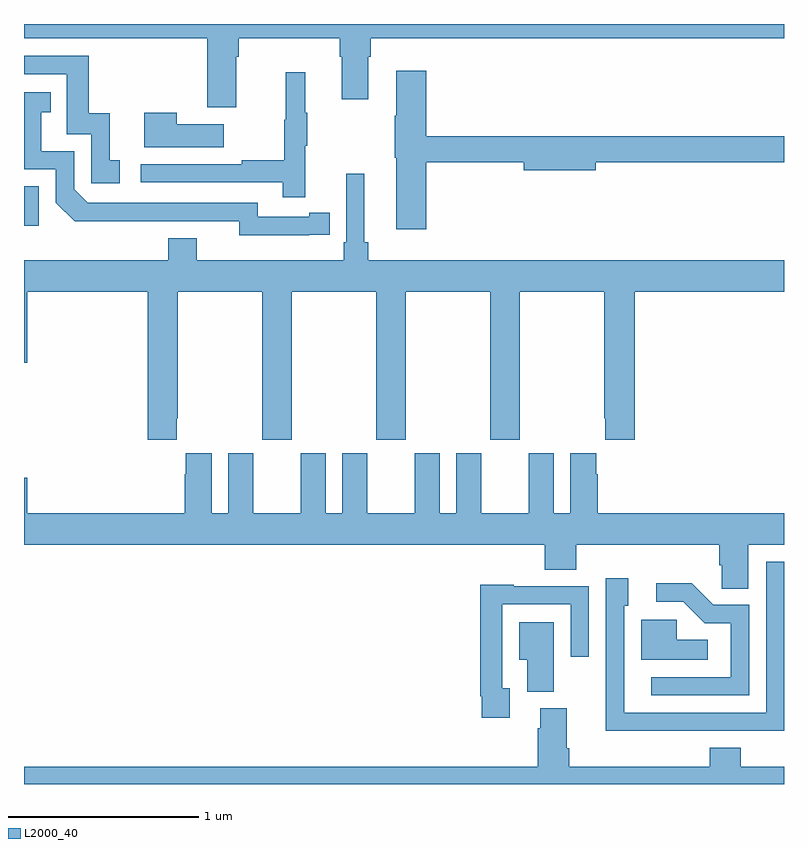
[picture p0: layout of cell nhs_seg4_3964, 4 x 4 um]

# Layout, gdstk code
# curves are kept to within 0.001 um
import gdstk
lib = gdstk.Library(unit=1e-6, precision=1e-09)
def R(c, l, rs):  # rectangles x0, y0, x1, y1
    for r in rs: c.add(gdstk.rectangle(r[:2], r[2:], *l))
def P(c, l, *ps):  # polygons
    for p in ps: c.add(gdstk.Polygon(p, *l))
L2000_40 = (2000, 40)

nhs_seg4_3964 = lib.new_cell('nhs_seg4_3964')
R(nhs_seg4_3964, L2000_40, [(321,791.838,321.078,792.045)])
P(nhs_seg4_3964, L2000_40, [(325,792.9),(321,792.9),(321,792.824),(321.965,792.824),(321.965,792.462),(322.117,792.462),(322.117,792.728),(322.13,792.728),(322.13,792.824),(322.661,792.824),(322.661,792.728),(322.673,792.728),(322.673,792.504),(322.813,792.504),(322.813,792.728),(322.826,792.728),(322.826,792.824),(325,792.824)],
  [(321.505,792.183),(321.452,792.183),(321.452,792.43),(321.341,792.43),(321.341,792.732),(321,792.732),(321,792.636),(321.225,792.636),(321.225,792.321),(321.354,792.321),(321.354,792.063),(321.505,792.063)],
  [(323.117,792.172),(323.63,792.172),(323.63,792.13),(324.01,792.13),(324.01,792.172),(325,792.172),(325,792.308),(323.117,792.308),(323.117,792.655),(322.958,792.655),(322.958,792.416),(322.951,792.416),(322.951,792.195),(322.958,792.195),(322.958,791.82),(323.117,791.82)],
  [(322.481,792.259),(322.492,792.259),(322.492,792.433),(322.481,792.433),(322.481,792.646),(322.378,792.646),(322.378,792.396),(322.371,792.396),(322.371,792.182),(322.147,792.182),(322.147,792.162),(321.615,792.162),(321.615,792.066),(322.363,792.066),(322.363,791.988),(322.481,791.988)],
  [(322.502,791.79),(322.61,791.79),(322.61,791.906),(322.502,791.906),(322.502,791.886),(322.23,791.886),(322.23,791.958),(321.336,791.958),(321.264,792.03),(321.264,792.231),(321.091,792.231),(321.091,792.435),(321.14,792.435),(321.14,792.541),(321,792.541),(321,792.135),(321.168,792.135),(321.168,791.958),(321.266,791.861),(322.134,791.862),(322.134,791.789)],
  [(322.051,792.373),(321.803,792.373),(321.803,792.433),(321.632,792.433),(321.632,792.251),(322.051,792.251)],
  [(321.805,790.825),(321.81,790.825),(321.81,791.492),(322.255,791.492),(322.255,790.713),(322.41,790.713),(322.41,791.492),(322.855,791.492),(322.855,790.713),(323.01,790.713),(323.01,791.492),(323.455,791.492),(323.455,790.713),(323.61,790.713),(323.61,791.492),(324.055,791.492),(324.055,790.825),(324.059,790.825),(324.059,790.713),(324.215,790.713),(324.215,791.492),(325,791.492),(325,791.656),(322.811,791.656),(322.811,791.752),(322.792,791.752),(322.792,792.112),(322.695,792.112),(322.695,791.752),(322.682,791.752),(322.682,791.656),(321.91,791.656),(321.91,791.773),(321.758,791.773),(321.758,791.656),(321,791.656),(321,791.118),(321.016,791.118),(321.016,791.492),(321.65,791.492),(321.65,790.713),(321.805,790.713)],
  [(322.457,790.642),(322.457,790.324),(322.207,790.324),(322.207,790.642),(322.076,790.642),(322.076,790.324),(321.988,790.324),(321.988,790.642),(321.851,790.642),(321.851,790.529),(321.845,790.529),(321.845,790.324),(321.016,790.324),(321.016,790.513),(321,790.513),(321,790.16),(323.741,790.16),(323.741,790.027),(323.906,790.027),(323.906,790.16),(324.659,790.16),(324.659,790.051),(324.672,790.051),(324.672,789.928),(324.811,789.928),(324.811,790.16),(325,790.16),(325,790.324),(324.02,790.324),(324.02,790.529),(324.013,790.529),(324.013,790.642),(323.876,790.642),(323.876,790.324),(323.788,790.324),(323.788,790.642),(323.657,790.642),(323.657,790.324),(323.407,790.324),(323.407,790.642),(323.276,790.642),(323.276,790.324),(323.188,790.324),(323.188,790.642),(323.057,790.642),(323.057,790.324),(322.807,790.324),(322.807,790.642),(322.676,790.642),(322.676,790.324),(322.588,790.324),(322.588,790.642)],
  [(324.524,789.18),(325,789.18),(325,790.071),(324.906,790.071),(324.906,789.276),(324.159,789.276),(324.159,789.837),(324.181,789.837),(324.181,789.982),(324.063,789.982),(324.063,789.482),(324.062,789.482),(324.062,789.179),(324.524,789.179)],
  [(324.816,789.843),(324.627,789.843),(324.514,789.956),(324.327,789.956),(324.327,789.858),(324.471,789.858),(324.582,789.747),(324.72,789.747),(324.72,789.462),(324.3,789.462),(324.3,789.366),(324.816,789.366)],
  [(323.557,789.405),(323.517,789.405),(323.517,789.846),(323.877,789.846),(323.877,789.57),(323.973,789.57),(323.973,789.942),(323.577,789.942),(323.577,789.949),(323.401,789.949),(323.401,789.361),(323.409,789.361),(323.409,789.249),(323.557,789.249)],
  [(324.598,789.658),(324.435,789.658),(324.435,789.765),(324.248,789.765),(324.248,789.554),(324.598,789.554)],
  [(323.788,789.751),(323.606,789.751),(323.606,789.554),(323.648,789.554),(323.648,789.385),(323.788,789.385)],
  [(325,788.992),(324.773,788.992),(324.773,789.091),(324.608,789.091),(324.608,788.992),(323.87,788.992),(323.87,789.088),(323.857,789.088),(323.857,789.3),(323.717,789.3),(323.717,789.194),(323.705,789.194),(323.705,788.992),(321,788.992),(321,788.9),(325,788.9)])

lib.write_gds('nhs_seg4_3964.gds')
